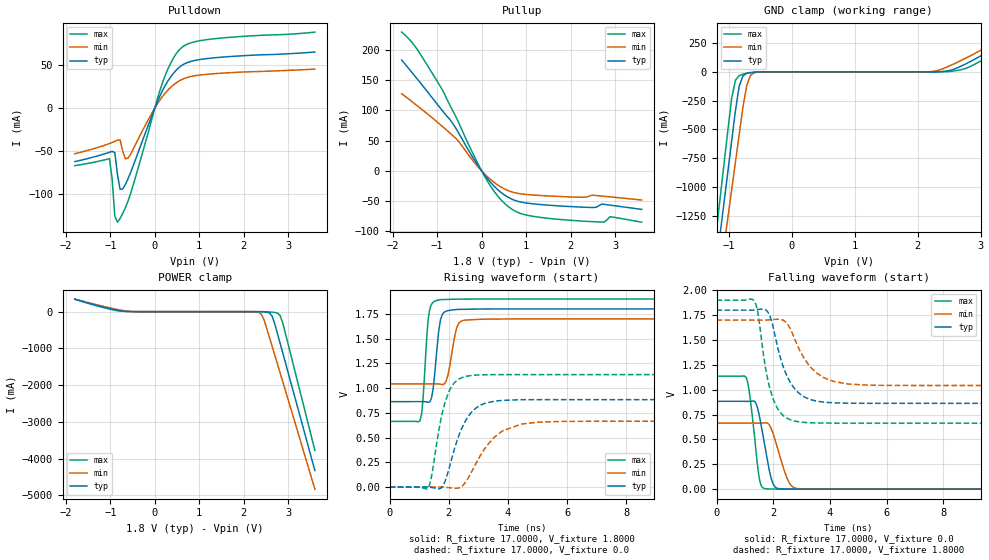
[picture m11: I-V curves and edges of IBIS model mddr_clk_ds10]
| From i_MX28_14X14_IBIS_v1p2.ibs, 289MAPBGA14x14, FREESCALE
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|   Model mddr_clk_ds10
| This model was characterised for following simulation conditions:
| Spice Models:
|  - Typ Condition
|   /project/Ringo/backup/r63536/IBIS/DDR_CLK_IBIS/mddr_clk_ds10/typ.model
|  - Min Condition
|   /project/Ringo/backup/r63536/IBIS/DDR_CLK_IBIS/mddr_clk_ds10/wcs.model
|  - Max Condition
|   /project/Ringo/backup/r63536/IBIS/DDR_CLK_IBIS/mddr_clk_ds10/bcs.model
[Model]  mddr_clk_ds10
Model_type I/O
Polarity   Non-Inverting
Enable   Active-Low
Vinl =   0.7750V
Vinh =   1.0250V
Vmeas =  0.9000V
Cref =   0.0F
Rref =   17.0000
Vref =   0.9000V
C_comp   3.9915pF   3.6943pF   4.3207pF
[Temperature Range]   25.0000   0.1050k   -40.0000
[Voltage Range]   1.8000V   1.7000V   1.9000V
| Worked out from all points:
|   slope of the pulldown table from 0 to 0.27 V, typ, clamps not added: 9.17 ohm
|   slope of the pullup table from 0 to 0.27 V, typ, clamps not added: 11 ohm
|   GND clamp passes 1 mA (typ) near -0.54 V on its own axis
|   POWER clamp passes 1 mA (typ) near -0.52 V on its own axis
|   rising waveform, R_fixture 17.0000, V_fixture 1.8000: 20-80 % time 186ps typ, 233ps min, 158ps max; typ from 0.863 V to 1.8 V
|   rising waveform, R_fixture 17.0000, V_fixture 0.0: 20-80 % time 644ps typ, 927ps min, 450ps max; typ from 0 V to 0.883 V
|   falling waveform, R_fixture 17.0000, V_fixture 0.0: 20-80 % time 341ps typ, 431ps min, 262ps max; typ from 0.883 V to 0 V
|   falling waveform, R_fixture 17.0000, V_fixture 1.8000: 20-80 % time 645ps typ, 839ps min, 474ps max; typ from 1.8 V to 0.863 V
[Pulldown]
|Voltage   I(typ)   I(min)   I(max)
-1.8V     -62.42mA   -53.29mA   -67.16mA
-1.02V    -51.58mA   -41.38mA   -59.03mA
-960mV    -50.55mA   -40.13mA   -82.52mA
-900mV    -51.83mA   -38.8mA    -125.9mA
-840mV    -77.66mA   -37.48mA   -133.1mA
-780mV    -94.92mA   -37.25mA   -128.6mA
-660mV    -88.79mA   -59.27mA   -116mA
-600mV    -82.14mA   -58.28mA   -108.1mA
180mV     21.14mA    14mA       30.54mA
600mV     49.47mA    33.06mA    70.36mA
1.26V     58.21mA    39.77mA    80.36mA
3.6V      65.36mA    45.47mA    88.59mA
[Pullup]
|Voltage   I(typ)   I(min)   I(max)
-1.8V     183.1mA    127.5mA    229.3mA
-1.44V    151mA      107.1mA    199.6mA
-900mV    100.9mA    74.48mA    135.9mA
-540mV    65.46mA    50.61mA    83.29mA
60mV      -6.156mA   -4.656mA   -8.184mA
600mV     -43.74mA   -32.62mA   -59.09mA
900mV     -51.72mA   -38.1mA    -70.88mA
1.44V     -56.26mA   -41.08mA   -77.85mA
2.52V     -60.44mA   -40.24mA   -83.88mA
2.7V      -54.75mA   -41.52mA   -84.41mA
2.88V     -56.47mA   -42.81mA   -75.91mA
3.6V      -63.57mA   -48.1mA    -84.7mA
[GND_clamp]
|Voltage   I(typ)   I(min)   I(max)
-1.8V     -4.323A    -4.424A    -4.256A
-1.2V     -1.663A    -1.995A    -1.372A
-1.14V    -1.398A    -1.752A    -1.084A
-1.02V    -868.3mA   -1.269A    -509.2mA
-960mV    -604mA     -1.028A    -233mA
-900mV    -340.4mA   -787.3mA   -73.55mA
-840mV    -126mA     -547.6mA   -32.76mA
-720mV    -12.73mA   -118.3mA   -12.56mA
-600mV    -2.843mA   -7.268mA   -3.118mA
2.28V     352.3uA    7.189mA    3.069uA
2.82V     85.23mA    135.2mA    42.99mA
3.6V      338.4mA    375mA      301.5mA
[POWER_clamp]
|Voltage   I(typ)   I(min)   I(max)
-1.8V     338.4mA    342.2mA    340.3mA
-1.02V    85.23mA    107.4mA    70.37mA
-660mV    7.261mA    19.55mA    6.94mA
2.34V     -1.011mA   -19mA      -48.46uA
2.4V      -2.843mA   -78.33mA   -344.5uA
2.46V     -6.159mA   -234.7mA   -1.502mA
2.58V     -35.11mA   -707.3mA   -8.707mA
2.64V     -126mA     -947.5mA   -14.73mA
2.76V     -604mA     -1.43A     -40.67mA
2.82V     -868.3mA   -1.672A    -108.5mA
2.88V     -1.133A    -1.914A    -318.8mA
3.6V      -4.323A    -4.83A     -3.775A
[Ramp]
| variable   typ   min   max
dV/dt_r  0.5299/0.6438n   0.3989/0.9107n   0.6818/0.4496n
dV/dt_f  0.5621/0.6453n   0.3945/0.8326n   0.7419/0.4721n
R_load = 17.0000
[Rising Waveform]
R_fixture= 17.0000
V_fixture= 1.8000
V_fixture_min= 1.7000
V_fixture_max= 1.9000
|time   V(typ)   V(min)   V(max)
0s        863.2mV    1.043V     663.5mV
1.025ns   863.3mV    1.043V     668.8mV
1.127ns   863.5mV    1.043V     884.9mV
1.343ns   858.4mV    1.043V     1.778V
1.485ns   1.036V     1.043V     1.872V
1.721ns   1.695V     1.039V     1.894V
1.975ns   1.783V     1.135V     1.897V
2.284ns   1.795V     1.624V     1.899V
2.542ns   1.796V     1.686V     1.9V
25ns      1.8V       1.7V       1.9V
[Rising Waveform]
R_fixture= 17.0000
V_fixture= 0.0
V_fixture_min= 0.0
V_fixture_max= 0.0
|time   V(typ)   V(min)   V(max)
0s        877.1nV    451.9nV    1.635uV
1.3ns     267.4uV    3.687uV    -10.3mV
1.415ns   -4.32mV    1.206uV    107.8mV
1.743ns   -9.991mV   305.1uV    701mV
1.941ns   117.4mV    -4.478mV   916.7mV
2.373ns   548.3mV    -5.462mV   1.097V
2.725ns   741.5mV    128.2mV    1.126V
3.812ns   875.9mV    567.3mV    1.136V
5.019ns   883.1mV    655.5mV    1.136V
25ns      883.2mV    664.8mV    1.136V
[Falling Waveform]
R_fixture= 17.0000
V_fixture= 0.0
V_fixture_min= 0.0
V_fixture_max= 0.0
|time   V(typ)   V(min)   V(max)
0s        883.2mV    664.8mV    1.136V
1.034ns   883.1mV    664.8mV    1.13V
1.18ns    883.2mV    664.8mV    930.6mV
1.387ns   865.3mV    664.7mV    401.1mV
1.528ns   713mV      664.5mV    80.09mV
1.743ns   374.7mV    667.7mV    3.611mV
2.073ns   18.74mV    489.2mV    1.264mV
2.538ns   1.616mV    78.29mV    250.8uV
2.823ns   796.1uV    6.551mV    93.66uV
25ns      878.2nV    453.2nV    1.636uV
[Falling Waveform]
R_fixture= 17.0000
V_fixture= 1.8000
V_fixture_min= 1.7000
V_fixture_max= 1.9000
|time   V(typ)   V(min)   V(max)
0s        1.8V       1.7V       1.9V
1.348ns   1.802V     1.7V       1.885V
1.45ns    1.807V     1.7V       1.785V
1.739ns   1.802V     1.7V       1.2V
1.979ns   1.652V     1.706V     922mV
2.358ns   1.227V     1.698V     739mV
2.878ns   973.1mV    1.432V     678.3mV
3.549ns   884.3mV    1.165V     666.2mV
4.659ns   864.2mV    1.057V     663.6mV
25ns      863.2mV    1.043V     663.5mV
